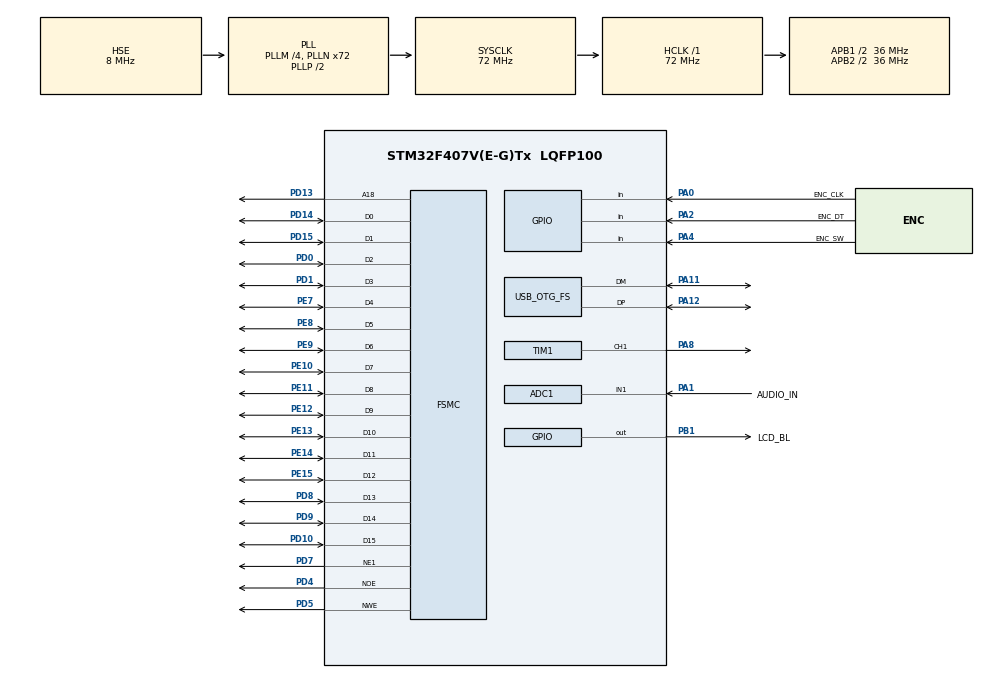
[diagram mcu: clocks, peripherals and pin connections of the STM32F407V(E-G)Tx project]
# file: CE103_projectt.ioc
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ADC1.Channel-0\#ChannelRegularConversion=ADC_CHANNEL_1
ADC1.ClockPrescaler=ADC_CLOCK_SYNC_PCLK_DIV4
ADC1.DMAContinuousRequests=ENABLE
ADC1.ExternalTrigConv=ADC_EXTERNALTRIGCONV_T2_TRGO
ADC1.NbrOfConversionFlag=1
ADC1.Rank-0\#ChannelRegularConversion=1
ADC1.SamplingTime-0\#ChannelRegularConversion=ADC_SAMPLETIME_480CYCLES
ADC1.master=1
Dma.ADC1.1.Direction=DMA_PERIPH_TO_MEMORY
Dma.ADC1.1.FIFOMode=DMA_FIFOMODE_DISABLE
Dma.ADC1.1.Instance=DMA2_Stream0
Dma.ADC1.1.MemDataAlignment=DMA_MDATAALIGN_HALFWORD
Dma.ADC1.1.MemInc=DMA_MINC_ENABLE
Dma.ADC1.1.Mode=DMA_CIRCULAR
Dma.ADC1.1.PeriphDataAlignment=DMA_PDATAALIGN_HALFWORD
Dma.ADC1.1.PeriphInc=DMA_PINC_DISABLE
Dma.ADC1.1.Priority=DMA_PRIORITY_LOW
Dma.Request0=TIM1_CH1
Dma.Request1=ADC1
Dma.TIM1_CH1.0.Direction=DMA_MEMORY_TO_PERIPH
Dma.TIM1_CH1.0.FIFOMode=DMA_FIFOMODE_DISABLE
Dma.TIM1_CH1.0.Instance=DMA2_Stream1
Dma.TIM1_CH1.0.MemDataAlignment=DMA_MDATAALIGN_HALFWORD
Dma.TIM1_CH1.0.MemInc=DMA_MINC_ENABLE
Dma.TIM1_CH1.0.Mode=DMA_NORMAL
Dma.TIM1_CH1.0.PeriphDataAlignment=DMA_PDATAALIGN_HALFWORD
Dma.TIM1_CH1.0.PeriphInc=DMA_PINC_DISABLE
Dma.TIM1_CH1.0.Priority=DMA_PRIORITY_LOW
FSMC.AddressSetupTime1=6
FSMC.BusTurnAroundDuration1=0
FSMC.DataSetupTime1=6
Mcu.Family=STM32F4
Mcu.Name=STM32F407V(E-G)Tx
Mcu.Package=LQFP100
NVIC.DMA2_Stream0_IRQn=true\:0\:0\:false\:false\:true\:false\:true\:true
NVIC.DMA2_Stream1_IRQn=true\:0\:0\:false\:false\:true\:false\:true\:true
NVIC.PriorityGroup=NVIC_PRIORITYGROUP_4
NVIC.TIM2_IRQn=true\:0\:0\:false\:false\:true\:true\:true\:true
PA0-WKUP.GPIO_Label=ENC_CLK
PA0-WKUP.GPIO_PuPd=GPIO_PULLUP
PA0-WKUP.Signal=GPIO_Input
PA1.GPIO_Label=AUDIO_IN
PA1.Signal=ADCx_IN1
PA11.Mode=Device_Only
PA11.Signal=USB_OTG_FS_DM
PA12.Mode=Device_Only
PA12.Signal=USB_OTG_FS_DP
PA13.Mode=Serial_Wire
PA13.Signal=SYS_JTMS-SWDIO
PA14.Mode=Serial_Wire
PA14.Signal=SYS_JTCK-SWCLK
PA2.GPIO_Label=ENC_DT
PA2.GPIO_PuPd=GPIO_PULLUP
PA2.Signal=GPIO_Input
PA4.GPIO_Label=ENC_SW
PA4.GPIO_PuPd=GPIO_PULLUP
PA4.Signal=GPIO_Input
PA8.Signal=S_TIM1_CH1
PB1.GPIO_Label=LCD_BL
PB1.Signal=GPIO_Output
PD0.Mode=16b-d1
PD0.Signal=FSMC_D2
PD1.Mode=16b-d1
PD1.Signal=FSMC_D3
PD10.Mode=16b-d1
PD10.Signal=FSMC_D15
PD13.Mode=A18_1
PD13.Signal=FSMC_A18
PD14.Mode=16b-d1
PD14.Signal=FSMC_D0
PD15.Mode=16b-d1
PD15.Signal=FSMC_D1
PD4.Mode=Lcd1
PD4.Signal=FSMC_NOE
PD5.Mode=Lcd1
PD5.Signal=FSMC_NWE
PD7.Mode=NorPsramChipSelect1_1
PD7.Signal=FSMC_NE1
PD8.Mode=16b-d1
PD8.Signal=FSMC_D13
PD9.Mode=16b-d1
PD9.Signal=FSMC_D14
PE10.Mode=16b-d1
PE10.Signal=FSMC_D7
PE11.Mode=16b-d1
PE11.Signal=FSMC_D8
PE12.Mode=16b-d1
PE12.Signal=FSMC_D9
PE13.Mode=16b-d1
PE13.Signal=FSMC_D10
PE14.Mode=16b-d1
PE14.Signal=FSMC_D11
PE15.Mode=16b-d1
PE15.Signal=FSMC_D12
PE7.Mode=16b-d1
PE7.Signal=FSMC_D4
PE8.Mode=16b-d1
PE8.Signal=FSMC_D5
PE9.Mode=16b-d1
PE9.Signal=FSMC_D6
PH0-OSC_IN.Mode=HSE-External-Oscillator
PH0-OSC_IN.Signal=RCC_OSC_IN
PH1-OSC_OUT.Mode=HSE-External-Oscillator
PH1-OSC_OUT.Signal=RCC_OSC_OUT
ProjectManager.HeapSize=0x200
ProjectManager.StackSize=0x400
ProjectManager.TargetToolchain=STM32CubeIDE
RCC.48MHZClocksFreq_Value=48000000
RCC.AHBFreq_Value=72000000
RCC.APB1CLKDivider=RCC_HCLK_DIV2
RCC.APB1Freq_Value=36000000
RCC.APB1TimFreq_Value=72000000
RCC.APB2CLKDivider=RCC_HCLK_DIV2
RCC.APB2Freq_Value=36000000
RCC.APB2TimFreq_Value=72000000
RCC.CortexFreq_Value=72000000
RCC.HCLKFreq_Value=72000000
RCC.HSE_VALUE=8000000
RCC.HSI_VALUE=16000000
RCC.LSE_VALUE=32768
RCC.PLLM=4
RCC.PLLN=72
RCC.PLLQ=3
RCC.SYSCLKFreq_VALUE=72000000
RCC.SYSCLKSource=RCC_SYSCLKSOURCE_PLLCLK
RCC.VCOOutputFreq_Value=144000000
SH.ADCx_IN1.0=ADC1_IN1,IN1
SH.S_TIM1_CH1.0=TIM1_CH1,PWM Generation1 CH1
TIM1.Channel-PWM\ Generation1\ CH1=TIM_CHANNEL_1
TIM1.Period=90-1
TIM2.Period=124
TIM2.Prescaler=83
TIM2.TIM_MasterOutputTrigger=TIM_TRGO_UPDATE
USB_OTG_FS.VirtualMode=Device_Only
VP_TIM1_VS_ClockSourceINT.Mode=Internal
VP_TIM2_VS_ClockSourceINT.Mode=Internal
board=custom

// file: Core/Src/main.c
/* USER CODE BEGIN Header */
/**
  **************************************************************************
  * @file           : main.c
  * @brief          : Main program body
  **************************************************************************
  * @attention
  *
  * Copyright (c) 2025 STMicroelectronics.
  * All rights reserved.
  *
  * This software is licensed under terms that can be found in the LICENSE file
  * in the root directory of this software component.
  * If no LICENSE file comes with this software, it is provided AS-IS.
  *
  **************************************************************************
  */
/* USER CODE END Header */
#include "main.h"

/* USER CODE BEGIN Includes */
#include <stdio.h>
#include <math.h>
#include "ili9341.h"
#include "fonts.h"
#include "colors.h"
#include <stdbool.h>
#include "math.h"
/* USER CODE END Includes */

/* USER CODE BEGIN PTD */
// Dinh nghia cac trang thai (che do) hoat dong chinh cua chuong trinh.
// Giup quan ly chuong trinh theo kieu "May trang thai" (State Machine).
typedef enum {
    STATE_MENU,                 // Trang thai dang hien thi menu lua chon.
    STATE_EFFECT_SOUND_SYNC,    // Trang thai dang chay hieu ung dong bo am thanh.
    STATE_EFFECT_RAINBOW        // Trang thai dang chay hieu ung cau vong.
} ProgramState;                 // Dat ten cho kieu du lieu moi la "ProgramState".

// Dinh nghia cac ket qua tra ve khi doc trang thai cua rotary encoder.
// Giup code de doc hon thay vi tra ve cac con so 0, 1, 2.
typedef enum {
    ENCODER_NO_ROTATION,        // Encoder khong xoay.
    ENCODER_CW_ROTATION,        // Encoder xoay theo chieu kim dong ho (Clockwise).
    ENCODER_CCW_ROTATION        // Encoder xoay nguoc chieu kim dong ho (Counter-Clockwise).
} Encoder_Rotation;             // Dat ten cho kieu du lieu moi la "Encoder_Rotation".

// Dinh nghia mot cau truc (struct) de luu tru gia tri cua mot mau RGB.
// Giup gom 3 gia tri mau vao mot bien duy nhat, de dang truyen qua lai giua cac ham.
typedef struct {
    uint8_t r;  // Luu gia tri kenh Mau Do (Red), tu 0-255.
    uint8_t g;  // Luu gia tri kenh Xanh la (Green), tu 0-255.
    uint8_t b;  // Luu gia tri kenh Xanh duong (Blue), tu 0-255.
} RGB_t;        // Dat ten cho kieu du lieu moi la "RGB_t".
/* USER CODE END PTD */

/* USER CODE BEGIN PD */
#define MAX_LED 50
// Cong tac de bat (1) hoac tat (0) chuc nang dieu chinh do sang phuc tap.
#define USE_BRIGHTNESS 1
// So PI
#ifndef PI
#define PI 3.14159265358979323846f

// Thong so cho viec xu ly am thanh
// Tan so lay mau am thanh (don vi: Hz). Quyet dinh so lan ADC se doc gia tri trong mot giay.
#define SAMPLING_RATE 8000.0f
// Kich thuoc cua moi khoi du lieu am thanh duoc xu ly trong mot lan.
// Chuong trinh se doi DMA thu thap du 256 mau roi moi bat dau phan tich.
#define BLOCK_SIZE 256
#endif
/* USER CODE END PD */

ADC_HandleTypeDef hadc1;
DMA_HandleTypeDef hdma_adc1;

TIM_HandleTypeDef htim1;
TIM_HandleTypeDef htim2;
DMA_HandleTypeDef hdma_tim1_ch1;

PCD_HandleTypeDef hpcd_USB_OTG_FS;

SRAM_HandleTypeDef hsram1;

/* USER CODE BEGIN PV */
//-------------------------------------------------
// Cac bien trang thai toan cuc
//-------------------------------------------------

// Luu trang thai hoat dong hien tai cua chuong trinh (o Menu hay dang chay hieu ung).
ProgramState currentState = STATE_MENU;

// Luu vi tri hieu ung dang duoc chon trong menu (0 hoac 1).
int selectedEffect = 0;

//-------------------------------------------------
// Buffer va co (flag) cho viec lay mau am thanh
//-------------------------------------------------

// Bo dem de luu du lieu tho tu ADC. Kich thuoc gap doi de ap dung ky thuat double-buffering:
// trong khi CPU xu ly nua dau, DMA se ghi du lieu vao nua sau va nguoc lai.
uint16_t adc_buffer[BLOCK_SIZE * 2];

// Co bao hieu nua buffer dau tien da co du lieu moi va san sang de xu ly.
// 'volatile' de dam bao CPU luon doc gia tri moi nhat cua bien tu RAM.
volatile bool first_half_ready = false;

// Co bao hieu nua buffer thu hai da co du lieu moi va san sang de xu ly.
volatile bool second_half_ready = false;

//-------------------------------------------------
// Cac bien cho viec dieu khien dai LED WS2812B
//-------------------------------------------------

// Mang luu tru gia tri mau goc (RGB) cho tung den LED.
uint8_t LED_Data[MAX_LED][4];

// Mang luu tru mau sau khi da dieu chinh do sang (neu dung).
uint8_t LED_Mod[MAX_LED][4];

// Buffer chua du lieu xung PWM da duoc ma hoa, san sang de DMA gui di.
uint16_t pwmData[(24*MAX_LED)+50];

// Co bao hieu qua trinh gui du lieu toi LED qua DMA-Timer da hoan tat.
volatile int datasentflag = 0;

// Bien dem buoc de tao chuyen dong cho hieu ung cau vong.
uint16_t rainbow_effStep = 0;

// Luu gia tri am luong (RMS) duoc tinh toan tu tin hieu am thanh.
uint16_t volume_rms = 0;
/* USER CODE END PV */

void SystemClock_Config(void);
static void MX_GPIO_Init(void);
static void MX_DMA_Init(void);
static void MX_USB_OTG_FS_PCD_Init(void);
static void MX_TIM1_Init(void);
static void MX_ADC1_Init(void);
static void MX_FSMC_Init(void);
static void MX_TIM2_Init(void);
/* USER CODE BEGIN PFP */
//--- Cac ham lien quan den Giao dien Nguoi dung (UI) ---

// Ve giao dien menu chinh len man hinh LCD.
void drawMenu(int selection);

// Ve man hinh thong bao khi dang chay mot hieu ung.
void drawEffectScreen(const char* effectName);

// Kiem tra trang thai xoay cua Rotary Encoder.
Encoder_Rotation checkRotaryEncoder(void);

// Doc trang thai nut nhan (SW) cua Encoder, co chong doi va chong giu phim.
uint8_t readSwitch(void);

//--- Cac ham thuc thi hieu ung chinh ---

// Goi logic de chay hieu ung nhay theo am thanh.
void run_sound_sync_effect(void);

// Goi logic de chay hieu ung cau vong.
void run_rainbow_effect(void);

//--- Cac ham dieu khien LED cap thap ---

// Dat gia tri mau (R, G, B) cho mot den LED duy nhat trong bo dem.
void Set_LED(int LEDnum, int Red, int Green, int Blue);

// Dieu chinh do sang tong the cua dai LED.
void Set_Brightness(int brightness);

// Gui du lieu mau sac tu bo dem ra dai LED thong qua TIM+DMA.
void WS2812_Send(void);

//--- Ham xu ly am thanh ---

// Tinh toan gia tri am luong RMS (Root Mean Square) tu mot khoi du lieu am thanh.
uint16_t calculate_rms(uint16_t* buffer, uint16_t num_samples, uint16_t dc_offset);
/* USER CODE END PFP */

int main(void)
{

  /* MCU Configuration--------------------------------------------------------*/

  /* Reset of all peripherals, Initializes the Flash interface and the Systick. */
  HAL_Init();

  /* Configure the system clock */
  SystemClock_Config();

  /* Initialize all configured peripherals */
  MX_GPIO_Init();
  MX_DMA_Init();
  MX_USB_OTG_FS_PCD_Init();
  MX_TIM1_Init();
  MX_ADC1_Init();
  MX_FSMC_Init();
  MX_TIM2_Init();
  /* USER CODE BEGIN 2 */
  // Khoi tao LCD
  lcdInit();
  HAL_GPIO_WritePin(LCD_BL_GPIO_Port, LCD_BL_Pin, GPIO_PIN_SET);

  // Bat dau cac tien trinh nen
  HAL_TIM_Base_Start(&htim2); // Bat dau Timer de kich ADC
  HAL_ADC_Start_DMA(&hadc1, (uint32_t*)adc_buffer, BLOCK_SIZE * 2); // Bat dau ADC lay mau qua DMA

  // Ve giao dien menu ban dau
  drawMenu(selectedEffect);
  /* USER CODE END 2 */

  /* Infinite loop */
  while (1)
  {

    /* USER CODE BEGIN 3 */
	    // Doc trang thai tu cac thiet bi dau vao mot lan o dau vong lap
	    Encoder_Rotation rotation = checkRotaryEncoder();
	    uint8_t switch_pressed = readSwitch();

	    // Xu ly logic dua tren trang thai hien tai cua chuong trinh
	    switch(currentState)
	    {
	        // TRUONG HOP 1: Dang o man hinh Menu
	        case STATE_MENU:
	            // Neu nguoi dung xoay encoder...
	            if (rotation != ENCODER_NO_ROTATION)
	            {
	                // ...thay doi hieu ung duoc chon (chuyen qua lai giua 0 va 1).
	                selectedEffect = (selectedEffect + 1) % 2;
	                // Ve lai menu de cap nhat giao dien, lam noi bat lua chon moi.
	                drawMenu(selectedEffect);
	            }
	            // Neu nguoi dung nhan nut SW...
	            if (switch_pressed)
	            {
	                // Kiem tra xem hieu ung nao dang duoc chon
	                if (selectedEffect == 0) {
	                    // Chuyen sang trang thai chay hieu ung "SOUND SYNC"
	                    currentState = STATE_EFFECT_SOUND_SYNC;
	                    // Hien thi man hinh thong bao tuong ung
	                    drawEffectScreen("SOUND SYNC");
	                } else {
	                    // Chuyen sang trang thai chay hieu ung "RAINBOW"
	                    currentState = STATE_EFFECT_RAINBOW;
	                    // Hien thi man hinh thong bao
	                    drawEffectScreen("RAINBOW");
	                    // Reset lai bien dem de hieu ung cau vong bat dau tu dau
	                    rainbow_effStep = 0;
	                }
	            }
	            break;

	        // TRUONG HOP 2: Dang chay hieu ung "Sound Sync"
	        case STATE_EFFECT_SOUND_SYNC:
	            // Lien tuc goi ham de chay logic hieu ung
	            run_sound_sync_effect();
	            // Neu nguoi dung nhan nut SW trong khi hieu ung dang chay...
	            if (switch_pressed) {
	                 // ...chuyen trang thai ve lai Menu
	                 currentState = STATE_MENU;
	                 // Tat het den LED truoc khi ve menu de tranh de lai hieu ung cu
	                 for(int i=0; i<MAX_LED; i++) Set_LED(i,0,0,0);
	                 WS2812_Send();
	                 // Ve lai giao dien menu
	                 drawMenu(selectedEffect);
	            }
	            break;

	        // TRUONG HOP 3: Dang chay hieu ung "Rainbow"
	        case STATE_EFFECT_RAINBOW:
	            // Lien tuc goi ham de chay logic hieu ung
	            run_rainbow_effect();
	            // Neu nguoi dung nhan nut SW trong khi hieu ung dang chay...
	            if (switch_pressed) {
	                // ...chuyen trang thai ve lai Menu
	                currentState = STATE_MENU;
	                // Tat het den LED
	                for(int i=0; i<MAX_LED; i++) Set_LED(i,0,0,0);
	                WS2812_Send();
	                // Ve lai giao dien menu
	                drawMenu(selectedEffect);
	            }
	            break;
	    }
	    // Khi o man hinh menu, them mot do tre nho de giam tai cho CPU
	    if (currentState == STATE_MENU) HAL_Delay(10);
  }
  /* USER CODE END 3 */
}

void SystemClock_Config(void)
{
  RCC_OscInitTypeDef RCC_OscInitStruct = {0};
  RCC_ClkInitTypeDef RCC_ClkInitStruct = {0};

  /** Configure the main internal regulator output voltage
  */
  __HAL_RCC_PWR_CLK_ENABLE();
  __HAL_PWR_VOLTAGESCALING_CONFIG(PWR_REGULATOR_VOLTAGE_SCALE1);

  /** Initializes the RCC Oscillators according to the specified parameters
  * in the RCC_OscInitTypeDef structure.
  */
  RCC_OscInitStruct.OscillatorType = RCC_OSCILLATORTYPE_HSE;
  RCC_OscInitStruct.HSEState = RCC_HSE_ON;
  RCC_OscInitStruct.PLL.PLLState = RCC_PLL_ON;
  RCC_OscInitStruct.PLL.PLLSource = RCC_PLLSOURCE_HSE;
  RCC_OscInitStruct.PLL.PLLM = 4;
  RCC_OscInitStruct.PLL.PLLN = 72;
  RCC_OscInitStruct.PLL.PLLP = RCC_PLLP_DIV2;
  RCC_OscInitStruct.PLL.PLLQ = 3;
  if (HAL_RCC_OscConfig(&RCC_OscInitStruct) != HAL_OK)
  {
    Error_Handler();
  }

  /** Initializes the CPU, AHB and APB buses clocks
  */
  RCC_ClkInitStruct.ClockType = RCC_CLOCKTYPE_HCLK|RCC_CLOCKTYPE_SYSCLK
                              |RCC_CLOCKTYPE_PCLK1|RCC_CLOCKTYPE_PCLK2;
  RCC_ClkInitStruct.SYSCLKSource = RCC_SYSCLKSOURCE_PLLCLK;
  RCC_ClkInitStruct.AHBCLKDivider = RCC_SYSCLK_DIV1;
  RCC_ClkInitStruct.APB1CLKDivider = RCC_HCLK_DIV2;
  RCC_ClkInitStruct.APB2CLKDivider = RCC_HCLK_DIV2;

  if (HAL_RCC_ClockConfig(&RCC_ClkInitStruct, FLASH_LATENCY_2) != HAL_OK)
  {
    Error_Handler();
  }
}

static void MX_ADC1_Init(void)
{

  ADC_ChannelConfTypeDef sConfig = {0};

  /** Configure the global features of the ADC (Clock, Resolution, Data Alignment and number of conversion)
  */
  hadc1.Instance = ADC1;
  hadc1.Init.ClockPrescaler = ADC_CLOCK_SYNC_PCLK_DIV4;
  hadc1.Init.Resolution = ADC_RESOLUTION_12B;
  hadc1.Init.ScanConvMode = DISABLE;
  hadc1.Init.ContinuousConvMode = DISABLE;
  hadc1.Init.DiscontinuousConvMode = DISABLE;
  hadc1.Init.ExternalTrigConvEdge = ADC_EXTERNALTRIGCONVEDGE_RISING;
  hadc1.Init.ExternalTrigConv = ADC_EXTERNALTRIGCONV_T2_TRGO;
  hadc1.Init.DataAlign = ADC_DATAALIGN_RIGHT;
  hadc1.Init.NbrOfConversion = 1;
  hadc1.Init.DMAContinuousRequests = ENABLE;
  hadc1.Init.EOCSelection = ADC_EOC_SINGLE_CONV;
  if (HAL_ADC_Init(&hadc1) != HAL_OK)
  {
    Error_Handler();
  }

  /** Configure for the selected ADC regular channel its corresponding rank in the sequencer and its sample time.
  */
  sConfig.Channel = ADC_CHANNEL_1;
  sConfig.Rank = 1;
  sConfig.SamplingTime = ADC_SAMPLETIME_480CYCLES;
  if (HAL_ADC_ConfigChannel(&hadc1, &sConfig) != HAL_OK)
  {
    Error_Handler();
  }

}

static void MX_TIM1_Init(void)
{

  TIM_ClockConfigTypeDef sClockSourceConfig = {0};
  TIM_MasterConfigTypeDef sMasterConfig = {0};
  TIM_OC_InitTypeDef sConfigOC = {0};
  TIM_BreakDeadTimeConfigTypeDef sBreakDeadTimeConfig = {0};

  htim1.Instance = TIM1;
  htim1.Init.Prescaler = 0;
  htim1.Init.CounterMode = TIM_COUNTERMODE_UP;
  htim1.Init.Period = 90-1;
  htim1.Init.ClockDivision = TIM_CLOCKDIVISION_DIV1;
  htim1.Init.RepetitionCounter = 0;
  htim1.Init.AutoReloadPreload = TIM_AUTORELOAD_PRELOAD_DISABLE;
  if (HAL_TIM_Base_Init(&htim1) != HAL_OK)
  {
    Error_Handler();
  }
  sClockSourceConfig.ClockSource = TIM_CLOCKSOURCE_INTERNAL;
  if (HAL_TIM_ConfigClockSource(&htim1, &sClockSourceConfig) != HAL_OK)
  {
    Error_Handler();
  }
  if (HAL_TIM_PWM_Init(&htim1) != HAL_OK)
  {
    Error_Handler();
  }
  sMasterConfig.MasterOutputTrigger = TIM_TRGO_RESET;
  sMasterConfig.MasterSlaveMode = TIM_MASTERSLAVEMODE_DISABLE;
  if (HAL_TIMEx_MasterConfigSynchronization(&htim1, &sMasterConfig) != HAL_OK)
  {
    Error_Handler();
  }
  sConfigOC.OCMode = TIM_OCMODE_PWM1;
  sConfigOC.Pulse = 0;
  sConfigOC.OCPolarity = TIM_OCPOLARITY_HIGH;
  sConfigOC.OCNPolarity = TIM_OCNPOLARITY_HIGH;
  sConfigOC.OCFastMode = TIM_OCFAST_DISABLE;
  sConfigOC.OCIdleState = TIM_OCIDLESTATE_RESET;
  sConfigOC.OCNIdleState = TIM_OCNIDLESTATE_RESET;
  if (HAL_TIM_PWM_ConfigChannel(&htim1, &sConfigOC, TIM_CHANNEL_1) != HAL_OK)
  {
    Error_Handler();
  }
  sBreakDeadTimeConfig.OffStateRunMode = TIM_OSSR_DISABLE;
  sBreakDeadTimeConfig.OffStateIDLEMode = TIM_OSSI_DISABLE;
  sBreakDeadTimeConfig.LockLevel = TIM_LOCKLEVEL_OFF;
  sBreakDeadTimeConfig.DeadTime = 0;
  sBreakDeadTimeConfig.BreakState = TIM_BREAK_DISABLE;
  sBreakDeadTimeConfig.BreakPolarity = TIM_BREAKPOLARITY_HIGH;
  sBreakDeadTimeConfig.AutomaticOutput = TIM_AUTOMATICOUTPUT_DISABLE;
  if (HAL_TIMEx_ConfigBreakDeadTime(&htim1, &sBreakDeadTimeConfig) != HAL_OK)
  {
    Error_Handler();
  }
  HAL_TIM_MspPostInit(&htim1);

}

static void MX_TIM2_Init(void)
{

  TIM_ClockConfigTypeDef sClockSourceConfig = {0};
  TIM_MasterConfigTypeDef sMasterConfig = {0};

  htim2.Instance = TIM2;
  htim2.Init.Prescaler = 83;
  htim2.Init.CounterMode = TIM_COUNTERMODE_UP;
  htim2.Init.Period = 124;
  htim2.Init.ClockDivision = TIM_CLOCKDIVISION_DIV1;
  htim2.Init.AutoReloadPreload = TIM_AUTORELOAD_PRELOAD_DISABLE;
  if (HAL_TIM_Base_Init(&htim2) != HAL_OK)
  {
    Error_Handler();
  }
  sClockSourceConfig.ClockSource = TIM_CLOCKSOURCE_INTERNAL;
  if (HAL_TIM_ConfigClockSource(&htim2, &sClockSourceConfig) != HAL_OK)
  {
    Error_Handler();
  }
  sMasterConfig.MasterOutputTrigger = TIM_TRGO_UPDATE;
  sMasterConfig.MasterSlaveMode = TIM_MASTERSLAVEMODE_DISABLE;
  if (HAL_TIMEx_MasterConfigSynchronization(&htim2, &sMasterConfig) != HAL_OK)
  {
    Error_Handler();
  }

}

static void MX_USB_OTG_FS_PCD_Init(void)
{

  hpcd_USB_OTG_FS.Instance = USB_OTG_FS;
  hpcd_USB_OTG_FS.Init.dev_endpoints = 4;
  hpcd_USB_OTG_FS.Init.speed = PCD_SPEED_FULL;
  hpcd_USB_OTG_FS.Init.dma_enable = DISABLE;
  hpcd_USB_OTG_FS.Init.phy_itface = PCD_PHY_EMBEDDED;
  hpcd_USB_OTG_FS.Init.Sof_enable = DISABLE;
  hpcd_USB_OTG_FS.Init.low_power_enable = DISABLE;
  hpcd_USB_OTG_FS.Init.lpm_enable = DISABLE;
  hpcd_USB_OTG_FS.Init.vbus_sensing_enable = DISABLE;
  hpcd_USB_OTG_FS.Init.use_dedicated_ep1 = DISABLE;
  if (HAL_PCD_Init(&hpcd_USB_OTG_FS) != HAL_OK)
  {
    Error_Handler();
  }

}

static void MX_DMA_Init(void)
{

  /* DMA controller clock enable */
  __HAL_RCC_DMA2_CLK_ENABLE();

  /* DMA interrupt init */
  /* DMA2_Stream0_IRQn interrupt configuration */
  HAL_NVIC_SetPriority(DMA2_Stream0_IRQn, 0, 0);
  HAL_NVIC_EnableIRQ(DMA2_Stream0_IRQn);
  /* DMA2_Stream1_IRQn interrupt configuration */
  HAL_NVIC_SetPriority(DMA2_Stream1_IRQn, 0, 0);
  HAL_NVIC_EnableIRQ(DMA2_Stream1_IRQn);

}

static void MX_GPIO_Init(void)
{
  GPIO_InitTypeDef GPIO_InitStruct = {0};

  /* GPIO Ports Clock Enable */
  __HAL_RCC_GPIOH_CLK_ENABLE();
  __HAL_RCC_GPIOA_CLK_ENABLE();
  __HAL_RCC_GPIOB_CLK_ENABLE();
  __HAL_RCC_GPIOE_CLK_ENABLE();
  __HAL_RCC_GPIOD_CLK_ENABLE();

  /*Configure GPIO pin Output Level */
  HAL_GPIO_WritePin(LCD_BL_GPIO_Port, LCD_BL_Pin, GPIO_PIN_RESET);

  /*Configure GPIO pins : ENC_CLK_Pin ENC_DT_Pin ENC_SW_Pin */
  GPIO_InitStruct.Pin = ENC_CLK_Pin|ENC_DT_Pin|ENC_SW_Pin;
  GPIO_InitStruct.Mode = GPIO_MODE_INPUT;
  GPIO_InitStruct.Pull = GPIO_PULLUP;
  HAL_GPIO_Init(GPIOA, &GPIO_InitStruct);

  /*Configure GPIO pin : LCD_BL_Pin */
  GPIO_InitStruct.Pin = LCD_BL_Pin;
  GPIO_InitStruct.Mode = GPIO_MODE_OUTPUT_PP;
  GPIO_InitStruct.Pull = GPIO_NOPULL;
  GPIO_InitStruct.Speed = GPIO_SPEED_FREQ_LOW;
  HAL_GPIO_Init(LCD_BL_GPIO_Port, &GPIO_InitStruct);

  /* USER CODE BEGIN MX_GPIO_Init_2 */
  // Quan trọng: Các chân FSMC phải được cấu hình ở đây bởi CubeMX
  /* USER CODE END MX_GPIO_Init_2 */
}

/* FSMC initialization function */
static void MX_FSMC_Init(void)
{

  /* USER CODE BEGIN FSMC_Init 0 */
  // Quan trọng: Hàm này phải được tạo bởi CubeMX để cấu hình đúng timing
  /* USER CODE END FSMC_Init 0 */

  FSMC_NORSRAM_TimingTypeDef Timing = {0};

  /** Perform the SRAM1 memory initialization sequence
  */
  hsram1.Instance = FSMC_NORSRAM_DEVICE;
  hsram1.Extended = FSMC_NORSRAM_EXTENDED_DEVICE;
  /* hsram1.Init */
  hsram1.Init.NSBank = FSMC_NORSRAM_BANK1;
  hsram1.Init.DataAddressMux = FSMC_DATA_ADDRESS_MUX_DISABLE;
  hsram1.Init.MemoryType = FSMC_MEMORY_TYPE_SRAM;
  hsram1.Init.MemoryDataWidth = FSMC_NORSRAM_MEM_BUS_WIDTH_16;
  hsram1.Init.BurstAccessMode = FSMC_BURST_ACCESS_MODE_DISABLE;
  hsram1.Init.WaitSignalPolarity = FSMC_WAIT_SIGNAL_POLARITY_LOW;
  hsram1.Init.WrapMode = FSMC_WRAP_MODE_DISABLE;
  hsram1.Init.WaitSignalActive = FSMC_WAIT_TIMING_BEFORE_WS;
  hsram1.Init.WriteOperation = FSMC_WRITE_OPERATION_ENABLE;
  hsram1.Init.WaitSignal = FSMC_WAIT_SIGNAL_DISABLE;
  hsram1.Init.ExtendedMode = FSMC_EXTENDED_MODE_DISABLE;
  hsram1.Init.AsynchronousWait = FSMC_ASYNCHRONOUS_WAIT_DISABLE;
  hsram1.Init.WriteBurst = FSMC_WRITE_BURST_DISABLE;
  hsram1.Init.PageSize = FSMC_PAGE_SIZE_NONE;
  /* Timing */
  Timing.AddressSetupTime = 6;
  Timing.AddressHoldTime = 15;
  Timing.DataSetupTime = 6;
  Timing.BusTurnAroundDuration = 0;
  Timing.CLKDivision = 16;
  Timing.DataLatency = 17;
  Timing.AccessMode = FSMC_ACCESS_MODE_A;
  /* ExtTiming */

  if (HAL_SRAM_Init(&hsram1, &Timing, NULL) != HAL_OK)
  {
    Error_Handler( );
  }

}

/* USER CODE BEGIN 4 */

void HAL_ADC_ConvHalfCpltCallback(ADC_HandleTypeDef* hadc)
{
    // Dat co bao hieu nua buffer dau tien da san sang.
    first_half_ready = true;

    // Lenh khong lam gi, thuong dung de dat breakpoint khi debug.
    __NOP();
}

void drawMenu(int selection)
{
    // Xoa sach man hinh ve mau den de chuan bi ve menu moi.
    lcdFillRGB(COLOR_BLACK);

    //--- Ve phan Tieu De ---
    lcdSetTextFont(&Font24); // Chon font lon de ve tieu de.
    lcdSetTextColor(COLOR_WHITE, COLOR_BLACK); // Dat mau chu la mau trang, mau nen la mau den.
    lcdSetCursor(10, 20); // Di chuyen con tro den vi tri de viet tieu de.
    lcdPrintf("CHON HIEU UNG"); // In chuoi tieu de ra man hinh.

    //--- Ve Nut lua chon so 1 ---

    // Kiem tra xem nut 1 co dang duoc chon hay khong de quyet dinh mau sac.
    // Neu selection == 0, nut se co mau sac noi bat (vang, xanh cyan).
    // Neu khong, nut se co mau sac thong thuong (trang, xanh navy).
    uint16_t b1_bg = (selection == 0) ? COLOR_DARKCYAN : COLOR_NAVY;       // Mau nen cua nut
    uint16_t b1_brd = (selection == 0) ? COLOR_YELLOW : COLOR_WHITE;      // Mau duong vien cua nut
    uint16_t b1_txt = (selection == 0) ? COLOR_YELLOW : COLOR_WHITE;      // Mau chu ben trong nut

    // Thuc hien ve nut 1
    lcdFillRect(30, 80, 180, 60, b1_bg);     // Ve hinh chu nhat dac lam nen cho nut bam.
    lcdDrawRect(30, 80, 180, 60, b1_brd);    // Ve duong vien cho nut bam.
    lcdSetTextColor(b1_txt, b1_bg);         // Thiet lap mau chu va mau nen (trung voi nen nut).
    lcdSetTextFont(&Font16);                // Chon font chu co kich thuoc nho hon cho nut bam.
    lcdSetCursor(43, 102);                  // Dat con tro vao giua nut de can chinh chu.
    lcdPrintf("NHAY THEO NHAC");            // In ten cua hieu ung.

    //--- Ve Nut lua chon so 2 (Logic tuong tu nut 1) ---

    // Kiem tra xem nut 2 co dang duoc chon hay khong (selection == 1).
    uint16_t b2_bg = (selection == 1) ? COLOR_DARKCYAN : COLOR_NAVY;
    uint16_t b2_brd = (selection == 1) ? COLOR_YELLOW : COLOR_WHITE;
    uint16_t b2_txt = (selection == 1) ? COLOR_YELLOW : COLOR_WHITE;

    // Thuc hien ve nut 2
    lcdFillRect(30, 160, 180, 60, b2_bg);
    lcdDrawRect(30, 160, 180, 60, b2_brd);
    lcdSetTextColor(b2_txt, b2_bg);
    lcdSetTextFont(&Font16);
    lcdSetCursor(76, 182);
    lcdPrintf("CAU VONG");
}

void drawEffectScreen(const char* effectName)
{
    lcdFillRGB(COLOR_BLACK);
    lcdSetTextFont(&Font16);
    lcdSetTextColor(COLOR_GREEN, COLOR_BLACK);
    lcdSetCursor(10, 50);
    lcdPrintf("Dang chay hieu ung:");
    lcdSetTextFont(&Font20);
    lcdSetTextColor(COLOR_WHITE, COLOR_BLACK);
    lcdSetCursor(10, 100);
    lcdPrintf(effectName);
    lcdSetTextFont(&Font12);
    lcdSetTextColor(COLOR_RED, COLOR_BLACK);
    lcdSetCursor(10, 260);
    lcdPrintf("Nhan SW de quay lai Menu");
}

/**
  * @brief  Kiem tra trang thai xoay cua Rotary Encoder.
  * @note   Ham nay su dung phuong phap phat hien canh xuong cua tin hieu CLK,
  * sau do kiem tra trang thai cua tin hieu DT de xac dinh chieu xoay.
  * @retval Trang thai xoay (CW, CCW, hoac khong xoay).
  */
Encoder_Rotation checkRotaryEncoder(void)
{
    // Bien static de luu trang thai cua chan CLK o lan goi ham truoc.
    // 'static' giup bien nay giu nguyen gia tri giua cac lan goi ham.
    // Khoi tao la 1 vi GPIO duoc cau hinh pull-up (muc cao khi khong hoat dong).
    static uint8_t last_clk_state = 1;

    // Doc trang thai hien tai cua chan CLK.
    uint8_t current_clk_state = HAL_GPIO_ReadPin(ENC_CLK_GPIO_Port, ENC_CLK_Pin);

    // Chi xu ly khi co su thay doi trang thai tu cao (1) xuong thap (0).
    // Day chinh la thoi diem encoder di qua mot "khac".
    if (current_clk_state == 0 && last_clk_state == 1)
    {
        // Them mot do tre rat nho de chong nhieu tin hieu.
        HAL_Delay(2);

        // Tai thoi diem CLK vua chuyen xuong thap, ta doc gia tri cua chan DT.
        // Chinh gia tri cua DT se quyet dinh chieu xoay.
        if (HAL_GPIO_ReadPin(ENC_DT_GPIO_Port, ENC_DT_Pin) == 0) {
            // Neu DT cung o muc thap, nghia la encoder dang xoay theo chieu kim dong ho.
            last_clk_state = current_clk_state; // Cap nhat trang thai truoc khi thoat.
            return ENCODER_CW_ROTATION;
        } else {
            // Nguoc lai, neu DT o muc cao, nghia la encoder xoay nguoc chieu kim dong ho.
            last_clk_state = current_clk_state;
            return ENCODER_CCW_ROTATION;
        }
    }

    // Cap nhat lai trang thai cua CLK de chuan bi cho lan kiem tra tiep theo.
    last_clk_state = current_clk_state;

    // Neu khong phat hien duoc canh xuong, tra ve trang thai khong xoay.
    return ENCODER_NO_ROTATION;
}

uint8_t readSwitch(void)
{
    // Kiem tra xem nut co duoc nhan xuong hay khong (chan SW duoc noi xuong GND -> muc thap).
    if (HAL_GPIO_ReadPin(ENC_SW_GPIO_Port, ENC_SW_Pin) == GPIO_PIN_RESET)
    {
        // Cho mot khoang thoi gian ngan de chong nhieu/doi (debounce).
        // Neu sau 200ms ma nut van duoc nhan, ta coi day la mot lan nhan hop le.
        HAL_Delay(200);

        if (HAL_GPIO_ReadPin(ENC_SW_GPIO_Port, ENC_SW_Pin) == GPIO_PIN_RESET)
        {
            // Vong lap nay se bi "treo" o day cho den khi nguoi dung tha nut ra.
            // Dieu nay dam bao chuong trinh chi ghi nhan 1 lan duy nhat cho moi lan nhan.
            while(HAL_GPIO_ReadPin(ENC_SW_GPIO_Port, ENC_SW_Pin) == GPIO_PIN_RESET);

            // Khi nut da duoc tha ra, tra ve 1 de bao hieu mot lan nhan hop le da hoan tat.
            return 1;
        }
    }

    // Neu khong co nut nao duoc nhan, tra ve 0.
    return 0;
}

/**
  * @brief  Chay hieu ung cau vong lien tuc, khong phu thuoc vao am thanh.
  * @note   Su dung thuat toan pha tron mau tuyen tinh giua 3 mau co ban (G->B->R)
  * de tao ra mot dai mau muot ma.
  * @param  None
  * @retval None
  */
void run_rainbow_effect(void)
{
    float factor1, factor2; // He so pha tron mau
    uint16_t ind;          // Vi tri ao cua den LED trong chu ky hieu ung
    uint8_t r, g, b;       // Cac bien luu gia tri mau RGB tam thoi

    // Cac hang so xac dinh cach hieu ung cau vong duoc tao ra.
    // Chung duoc dich tu code Arduino mau.
    const float step_increment = 2.266667f; // Buoc nhay cho moi den LED ke tiep
    const int total_steps = 68;             // Tong so buoc trong mot chu ky hoan chinh cua hieu ung
    const float segment_length = 22.666667f; // Do dai cua moi doan chuyen mau (total_steps / 3)

    // Duyet qua tung den LED de tinh toan mau sac cho no.
    for(uint16_t j = 0; j < MAX_LED; j++) {
        // Tinh toan vi tri "ao" cua den LED hien tai trong toan bo chu ky hieu ung.
        // 'rainbow_effStep' lam cho toan bo dai mau di chuyen qua moi frame.
        ind = rainbow_effStep + (uint16_t)(j * step_increment);

        // Xac dinh xem den LED dang o doan chuyen mau nao (0, 1, hay 2).
        int segment = (int)((ind % total_steps) / segment_length);

        switch(segment) {
            case 0: // Chuyen tu Xanh la (G) sang Xanh duong (B)
                // factor1 giam tu 1 ve 0, factor2 tang tu 0 len 1.
                factor1 = 1.0f - ((float)(ind % total_steps) / segment_length);
                factor2 = ((float)(ind % total_steps)) / segment_length;
                r = 0;
                g = (uint8_t)(255 * factor1); // Kenh Green giam dan
                b = (uint8_t)(255 * factor2); // Kenh Blue tang dan
                break;

            case 1: // Chuyen tu Xanh duong (B) sang Do (R)
                factor1 = 1.0f - ((float)(ind % total_steps - segment_length) / segment_length);
                factor2 = ((float)(ind % total_steps - segment_length)) / segment_length;
                r = (uint8_t)(255 * factor2); // Kenh Red tang dan
                g = 0;
                b = (uint8_t)(255 * factor1); // Kenh Blue giam dan
                break;

            case 2: // Chuyen tu Do (R) ve Xanh la (G)
                factor1 = 1.0f - ((float)(ind % total_steps - 2 * segment_length) / segment_length);
                factor2 = ((float)(ind % total_steps - 2 * segment_length)) / segment_length;
                r = (uint8_t)(255 * factor1); // Kenh Red giam dan
                g = (uint8_t)(255 * factor2); // Kenh Green tang dan
                b = 0;
                break;
            default: // Truong hop du phong
                r=0; g=0; b=0;
                break;
        }
        // Luu mau vua tinh toan vao bo dem cho den LED thu 'j'.
        Set_LED(j, r, g, b);
    }

    // Ap dung do sang da chon.
    Set_Brightness(10);

    // Gui toan bo du lieu trong bo dem ra dai LED thuc te.
    WS2812_Send();

    // Tang buoc hieu ung len 1 de frame tiep theo, dai mau se dich chuyen.
    rainbow_effStep++;

    // Neu hieu ung da chay xong mot chu ky, bat dau lai tu dau.
    if(rainbow_effStep >= total_steps) {
        rainbow_effStep = 0;
    }

    // Dieu khien toc do cua hieu ung. So cang nho, hieu ung cang nhanh.
    //HAL_Delay(7);
}

// Ham callback cua DMA-Timer -> da gui xong
void HAL_TIM_PWM_PulseFinishedCallback(TIM_HandleTypeDef *htim)
{
	HAL_TIM_PWM_Stop_DMA(&htim1, TIM_CHANNEL_1);
	datasentflag=1;
}

// Ham luu gia tri mau cho LED
void Set_LED (int LEDnum, int Red, int Green, int Blue)
{
	LED_Data[LEDnum][0] = LEDnum;
	LED_Data[LEDnum][1] = Green;
	LED_Data[LEDnum][2] = Red;
	LED_Data[LEDnum][3] = Blue;
}

/**
  * @brief  Dieu chinh do sang tong the cua toan bo dai LED.
  * @note   Ham nay khong thay doi mau goc trong LED_Data.
  * Thay vao do, no tinh toan gia tri mau moi voi do sang da duoc ap dung
  * va luu ket qua vao mang LED_Mod.
  * @param  brightness: Gia tri do sang mong muon, tu 0 (toi nhat) den 45 (sang nhat).
  * @retval None
  */
void Set_Brightness (int brightness)
{
    // Toan bo chuc nang nay chi duoc bien dich neu USE_BRIGHTNESS duoc bat (bang 1).
    #if USE_BRIGHTNESS

	// Gioi han gia tri do sang trong khoang an toan tu 0 den 45.
	if (brightness > 45) brightness = 45;
	if (brightness < 0) brightness = 0;

	// Duyet qua tung den LED de ap dung do sang.
	for (int i=0; i<MAX_LED; i++)
	{
		// Sao chep du lieu khong phai mau (vi du: chi so cua den).
		LED_Mod[i][0] = LED_Data[i][0];

		// Voi moi den, xu ly 3 thanh phan mau (G, R, B).
		for (int j=1; j<4; j++)
		{
			// Truong hop dac biet: neu do sang la 0, tat luon den.
			if(brightness == 0) {
				LED_Mod[i][j] = 0;
			} else {
				// Su dung cong thuc luong giac de dieu chinh do sang mot cach phi tuyen tinh.
				float angle = 90 - brightness;
				angle = angle * PI / 180; // Chuyen doi tu do sang radian

				// Khi brightness = 45 (max), angle = 45, tan(45) = 1 -> mau giu nguyen.
				// Khi brightness giam, angle tang -> tan(angle) tang -> mau toi di.
				if (tan(angle) != 0) {
					LED_Mod[i][j] = (LED_Data[i][j]) / (tan(angle));
				} else {
					// Phong truong hop tan(angle) = 0 (khong xay ra voi input da gioi han).
					LED_Mod[i][j] = LED_Data[i][j];
				}
			}
		}
	}
    #endif
}

/**
  * @brief  Chuyen doi du lieu mau trong mang LED_Data thanh chuoi xung PWM va gui ra LED.
  * @note   Su dung ket hop Timer o che do PWM va bo dieu khien DMA de tu dong hoa viec gui tin hieu.
  * @param  None
  * @retval None
  */
void WS2812_Send (void)
{
	uint32_t indx=0;      // Bien dem cho mang pwmData
	uint32_t color;       // Bien tam de luu gia tri mau 24-bit cua mot LED

	// Duyet qua tung den LED trong dai de chuan bi du lieu
	for (int i= 0; i < MAX_LED; i++)
	{
		// Lay du lieu mau (theo thu tu G-R-B) tu mang LED_Data va ghep lai thanh mot so 24-bit.
		color = ((LED_Data[i][1]<<16) | (LED_Data[i][2]<<8) | (LED_Data[i][3]));

		// Voi moi den,
		// duyet qua tung bit trong 24 bit mau (tu bit cao nhat '23' den bit thap nhat '0').
		for (int j=23; j>=0; j--)
		{
			// Kiem tra gia tri cua bit thu j.
			if (color & (1UL << j))
			{
				// Neu bit la 1, dat gia tri duty cycle cao (vi du: 60/90).
				// Xung HIGH se dai, duoc WS2812B hieu la bit '1'.
				pwmData[indx] = 60;
			}
			else
			{
				// Neu bit la 0, dat gia tri duty cycle thap (vi du: 30/90).
				// Xung HIGH se ngan, duoc WS2812B hieu la bit '0'.
				pwmData[indx] = 30;
			}
			indx++;
		}
	}

	// Them 50 gia tri '0' vao cuoi buffer de tao ra tin hieu Reset (Latch).
	// Xung LOW keo dai nay se bao cho cac den LED "chot" mau va hien thi.
	for (int i=0; i<50; i++)
	{
		pwmData[indx] = 0;
		indx++;
	}

	// Bat dau qua trinh phat chuoi xung PWM bang Timer va DMA.
	// DMA se tu dong nap cac gia tri tu 'pwmData' vao thanh ghi cua Timer.
	HAL_TIM_PWM_Start_DMA(&htim1, TIM_CHANNEL_1, (uint32_t *)pwmData, indx);

	// Cho cho den khi DMA gui xong toan bo du lieu.
	// Co 'datasentflag' se duoc bat len 1 trong ham callback ngat cua Timer.
	while (!datasentflag){};

	// Reset co de chuan bi cho lan gui tiep theo.
	datasentflag = 0;
}

/**
  * @brief  Chuyen doi mau sac tu khong gian mau HSV (Hue, Saturation, Value) sang RGB.
  * @note   Su dung phep toan so nguyen de toi uu hoa toc do tren vi dieu khien.
  * @param  h: Hue (sac mau), gia tri tu 0 - 359, dai dien cho vong tron mau.
  * @param  s: Saturation (do bao hoa), gia tri tu 0 (mau xam) den 255 (mau dam nhat).
  * @param  v: Value (do sang), gia tri tu 0 (mau toi) den 255 (mau sang nhat).
  * @retval Cau truc RGB_t chua 3 gia tri mau Red, Green, Blue tuong ung.
  */
RGB_t HSV_to_RGB_integer(uint16_t h, uint8_t s, uint8_t v) {
    RGB_t rgb;
    uint8_t region, remainder, p, q, t;

    // Truong hop dac biet: neu do bao hoa (s) bang 0, mau la mau xam.
    // Tat ca cac kenh R, G, B se co cung gia tri la do sang (v).
    if (s == 0) {
        rgb.r = v;
        rgb.g = v;
        rgb.b = v;
        return rgb;
    }

    // Tinh toan khu vuc (region) cua mau tren vong tron mau (chia lam 6 khu vuc, moi khu 60 do).
    region = h / 60;

    // Tinh toan phan du, cho biet vi tri cua mau trong khu vuc do.
    // Scale gia tri nay ra thang 0-255 de tinh toan.
    remainder = (h % 60) * 255 / 60;

    // Tinh toan cac thanh phan mau trung gian p, q, t.
    // p: Gia tri thap nhat cua 3 kenh R,G,B (khi mau bi giam do bao hoa).
    // q, t: Cac gia tri de tao ra su chuyen tiep muot ma giua cac mau.
    // Phep dich bit '>> 8' tuong duong voi phep chia cho 256, la mot cach toi uu hoa.
    p = (v * (255 - s)) >> 8;
    q = (v * (255 - ((s * remainder) >> 8))) >> 8;
    t = (v * (255 - ((s * (255 - remainder)) >> 8))) >> 8;

    // Gan gia tri R, G, B tuy thuoc vao khu vuc mau (region).
    switch (region) {
        case 0: // Do -> Vang
            rgb.r = v; rgb.g = t; rgb.b = p;
            break;
        case 1: // Vang -> Xanh la
            rgb.r = q; rgb.g = v; rgb.b = p;
            break;
        case 2: // Xanh la -> Xanh cyan
            rgb.r = p; rgb.g = v; rgb.b = t;
            break;
        case 3: // Xanh cyan -> Xanh duong
            rgb.r = p; rgb.g = q; rgb.b = v;
            break;
        case 4: // Xanh duong -> Tim
            rgb.r = t; rgb.g = p; rgb.b = v;
            break;
        default: // Tim -> Do
            rgb.r = v; rgb.g = p; rgb.b = q;
            break;
    }

    return rgb;
}

/**
  * @brief  Tinh gia tri RMS (Root Mean Square) de do am luong chinh xac.
  * @note   RMS la mot phep do tot hon so voi viec chi lay bien do dinh-dinh
  * de the hien do lon ma tai nguoi cam nhan duoc.
  * @param  buffer: Con tro den bo dem chua cac mau am thanh.
  * @param  num_samples: So luong mau trong bo dem can xu ly.
  * @param  dc_offset: Gia tri DC offset cua tin hieu (thuong la mot nua gia tri ADC max).
  * @retval Gia tri am luong RMS (dang so nguyen).
  */
uint16_t calculate_rms(uint16_t* buffer, uint16_t num_samples, uint16_t dc_offset) {
    // Su dung kieu 'uint32_t' de tranh bi tran so khi cong don cac gia tri lon.
    uint32_t sum_of_squares = 0;

    // Duyet qua tung mau trong khoi du lieu duoc cung cap.
    for (uint16_t i = 0; i < num_samples; i++) {
        // Buoc 1: Loai bo thanh phan DC de chi lay tin hieu xoay chieu (AC).
        // Tin hieu AC co the co gia tri am, nen dung kieu 'int32_t'.
        int32_t ac_signal = buffer[i] - dc_offset;

        // Buoc 2 (Square): Binh phuong gia tri AC (de khu gia tri am)
        // va cong don vao tong (Sum).
        sum_of_squares += ac_signal * ac_signal;
    }

    // Buoc 3 (Mean): Tinh gia tri trung binh cong cua tong binh phuong.
    // Buoc 4 (Root): Lay can bac hai cua gia tri trung binh do.
    // Ham sqrtf() la ham tinh can bac hai cho so thuc (float).
    return sqrtf((float)sum_of_squares / num_samples);
}

void run_sound_sync_effect(void)
{
    uint16_t* processing_buffer = NULL;

    if (first_half_ready) {
        processing_buffer = &adc_buffer[0];
        first_half_ready = false;
    } else if (second_half_ready) {
        processing_buffer = &adc_buffer[BLOCK_SIZE];
        second_half_ready = false;
    }

    if (processing_buffer != NULL)
    {
    	// TINH TOAN DC OFFSET THUC TE
    	uint32_t sum = 0;
    	for(int i=0; i<BLOCK_SIZE; i++) {
    	    sum += processing_buffer[i];
    	}
    	uint16_t dc_offset_actual = sum / BLOCK_SIZE;
        // PHAN TICH AM THANH
    	volume_rms = calculate_rms(processing_buffer, BLOCK_SIZE, dc_offset_actual);

        // --- 2. ANH XA AM THANH SANG HINH ANH ---
        // Anh xa am luong RMS ra so luong den LED sang
        int leds_to_light = (volume_rms - 10) * MAX_LED / (500 - 10); // Vi du nguong moi
        if (leds_to_light < 0) leds_to_light = 0;
        if (leds_to_light > MAX_LED) leds_to_light = MAX_LED;

        // Anh xa am luong ra mau sac (Hue tu 240-Xanh toi 0-Do)
        uint16_t hue = 240 - ((uint32_t)leds_to_light * 240) / MAX_LED;

        // VE HIEU UNG
        for (int i = 0; i < MAX_LED; i++) {
            if (i < leds_to_light) {
                // Tat ca cac den sang se co cung mot mau nong/lanh tuy thuoc vao so luong den
                RGB_t color = HSV_to_RGB_integer(hue, 255, 200); // S=255, V=200
                Set_LED(i, color.r, color.g, color.b);
            } else {
                Set_LED(i, 0, 0, 0); // Tat cac den con lai
            }
        }
        // Gui du lieu toi LED
        WS2812_Send();
    }
}
/* USER CODE END 4 */

void Error_Handler(void)
{
  __disable_irq();
  while (1)
  {
  }
}
